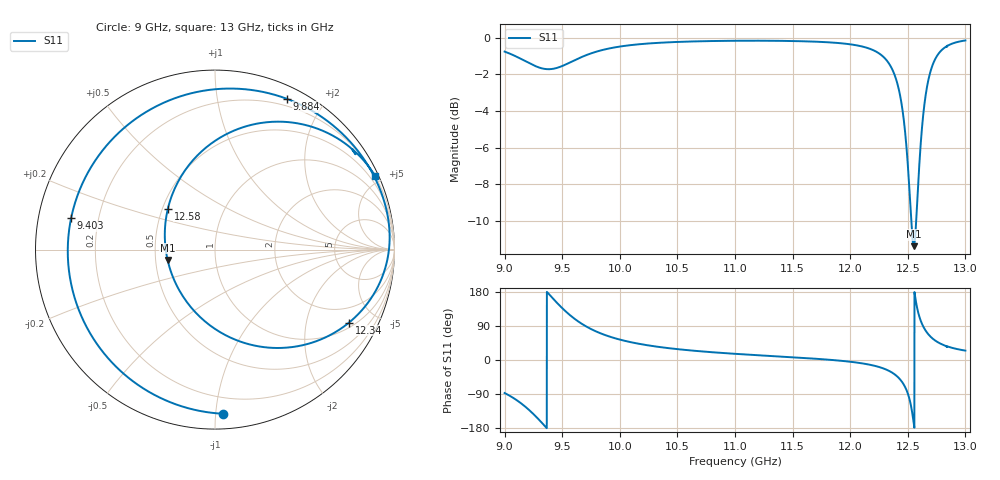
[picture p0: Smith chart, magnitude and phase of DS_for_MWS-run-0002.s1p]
! TOUCHSTONE file generated by CST DESIGN STUDIO
! Date and time: Tue Feb  4 18:00:48 2025
! Project name: C:\Work\MatlabApps\UnitCellOptimizationMatlab\CST\unitcell.cst
! Tree item: Tasks\Sweep1\SPara1\S-Parameters
! Header version: 2024
! Port assignment regex: !\s*Touchstone port\s*([0-9]+)\s*=\s*(CST MWS port|CST DES external port|CST DES block port)\s*(.+)\s* \(\"(.*)\"\)(\s*mode\s*([0-9]+))?.*
! Touchstone port assignment:
! Touchstone port 1 = CST DES external port 1 ("")
# GHz S MA R 50
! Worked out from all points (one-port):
!   4001 points, 9 GHz to 13 GHz, reference 50 ohm
!   lowest |S11| = -11.4 dB at 12.55 GHz (marker M1), VSWR 1.74, Z = 28.9 - j3.6 ohm
!   |S11| at or under -10 dB: 12.52996 GHz to 12.57272 GHz (42.76 MHz wide, 0.341 % of centre)
!   S11 on the Smith chart (normalised r, x): 9 GHz: 0.09, -1.05; 9.403 GHz: 0.10, +0.11; 9.884 GHz: 0.13, +1.58; 12.34 GHz: 1.21, -3.55; 12.58 GHz: 0.53, +0.28; 13 GHz: 0.20, +4.54
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9  0.9158 -87.1
9.107  0.886 -106.4
9.198  0.8567 -128.0
9.309  0.8269 -161.0
9.403  0.8206 167.7
9.5  0.8366 136.9
9.576  0.858 116.2
9.658  0.8821 97.9
9.77  0.9099 78.8
9.884  0.9305 64.6
10  0.9452 53.9
10.215  0.9618 40.2
10.5  0.9729 28.7
11  0.9801 16.3
11.5  0.9785 7.2
12  0.9586 -4.6
12.209  0.9212 -15.1
12.336  0.8504 -28.5
12.421  0.7248 -47.2
12.465  0.5975 -64.8
12.5  0.4511 -88.3
12.552  0.2703 -167.7
12.58  0.348 138.9
12.629  0.5944 91.6
12.682  0.7751 66.6
12.738  0.8739 51.3
12.804  0.9306 40.3
13  0.982 24.8
